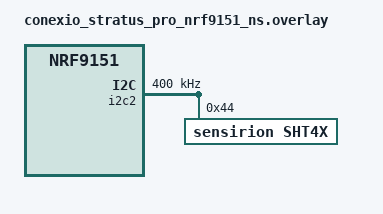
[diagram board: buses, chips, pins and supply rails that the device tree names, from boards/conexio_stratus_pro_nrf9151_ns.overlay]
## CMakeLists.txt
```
cmake_minimum_required(VERSION 3.20.0)
find_package(Zephyr REQUIRED HINTS $ENV{ZEPHYR_BASE})
project(sensor_data)

target_sources(app PRIVATE src/main.c)
target_include_directories(app PRIVATE ${ZEPHYR_CJSON_MODULE_DIR})
```

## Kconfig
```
mainmenu "Conexio Sensor Data Sample"

source "Kconfig.zephyr"

config CONEXIO_SAMPLE_SIMULATED_SENSORS
	bool "Use simulated (random) sensor data"
	default y
	help
	  When enabled (default), temperature and humidity callbacks return
	  random values for demonstration purposes. A compiler warning is
	  emitted as a reminder to replace them before deploying to production.
	  Set to n and implement real sensor reads in main.c.
```

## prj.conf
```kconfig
# =============================================================================
# Sensor Data — Streaming sensor readings to Conexio Cloud
# =============================================================================
CONFIG_CONEXIO_CLOUD=y
CONFIG_CONEXIO_CLOUD_INTERVAL_SEC=120

# CBOR binary encoding
CONFIG_CONEXIO_CLOUD_CBOR=y
CONFIG_CONEXIO_CLOUD_CBOR_BUFFER_SIZE=512

# PSM — modem sleeps between publishes
CONFIG_CONEXIO_CLOUD_PSM=y
CONFIG_CONEXIO_CLOUD_PSM_TAU_SEC=3600
CONFIG_CONEXIO_CLOUD_PSM_ACTIVE_TIME_SEC=10

# Retry
CONFIG_CONEXIO_CLOUD_RETRY=y

# Simulated sensors on by default — replace with real driver reads
CONFIG_CONEXIO_SAMPLE_SIMULATED_SENSORS=y

# C library / system
CONFIG_POSIX_THREADS=y
CONFIG_MODEM_INFO_ADD_NETWORK=y
CONFIG_MODEM_INFO_ADD_DEVICE=y
CONFIG_MAIN_STACK_SIZE=4096
CONFIG_HEAP_MEM_POOL_SIZE=32768
CONFIG_SYSTEM_WORKQUEUE_STACK_SIZE=4096
CONFIG_CONEXIO_CLOUD_THREAD_STACK_SIZE=4096
CONFIG_LOG=y
CONFIG_LOG_DEFAULT_LEVEL=3
CONFIG_UART_CONSOLE=y
CONFIG_RESET_ON_FATAL_ERROR=y

# TF-M minimal profile (required for bootloader partition layout)
CONFIG_TFM_PROFILE_TYPE_MINIMAL=y

# Real SHT4x sensor (QWIIC port)
# CONFIG_SHT4X is auto-selected when the DT node is status="okay";
# explicit entries here document the intent.
CONFIG_SENSOR=n
CONFIG_I2C=n
CONFIG_SHT4X=n
```

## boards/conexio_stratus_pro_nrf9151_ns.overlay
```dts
/*
 * Copyright (c) 2026 Conexio Technologies, Inc
 *
 * SPDX-License-Identifier: Apache-2.0
 */

#include <samples/cellular/nrf91_bootloader_partitions.dtsi>
#include <samples/cellular/nrf91_sram_partitions.dtsi>

&i2c2 {
	status = "okay";
	clock-frequency = <I2C_BITRATE_FAST>;
	sht4x@44 {
		status = "okay";
		compatible = "sensirion,sht4x";
		reg = <0x44>;
		repeatability = <2>;
	};
};
```

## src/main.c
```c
/*
 * Copyright (c) 2026 Conexio Technologies, Inc.
 *
 * SPDX-License-Identifier: Apache-2.0
 */

/*
 * sensor_data/src/main.c — Sensor data streaming sample.
 *
 * Demonstrates fetching sensor readings (temperature, humidity) and
 * streaming them to Conexio Cloud on a configurable interval.
 *
 * Metric behaviour:
 *
 *   CONFIG_CONEXIO_SAMPLE_SIMULATED_SENSORS=y (default)
 *     "temperature"      — random 20–40 °C  (simulated)
 *     "humidity"         — random 40–80 %   (simulated)
 *     "temperature_real" — SHT4x reading    (NAN if sensor absent)
 *     "humidity_real"    — SHT4x reading    (NAN if sensor absent)
 *
 *   CONFIG_CONEXIO_SAMPLE_SIMULATED_SENSORS=n
 *     "temperature"      — SHT4x reading (real sensor only)
 *     "humidity"         — SHT4x reading (real sensor only)
 *
 * The SDK handles:
 *   - LTE, MQTT, CBOR encoding, retry, PSM
 *   - SDK auto-metrics: _rssi, _snr, _reboot_cnt, _sdk_version, etc.
 */

#include <conexio_cloud/conexio_cloud.h>
#include <zephyr/kernel.h>
#include <zephyr/drivers/sensor.h>
#include <zephyr/random/random.h>
#include <zephyr/logging/log.h>
#include <math.h>

#if __has_include(<app_version.h>)
#  include <app_version.h>
#else
#  define APP_VERSION_STRING "1.0.0"
#endif

LOG_MODULE_REGISTER(app, LOG_LEVEL_INF);

/* Alert fires when temperature exceeds this value (°C).
 * Update via Conexio Console → OTA Config → alertThreshold setting. */
static int g_alert_threshold = 35;

/* ── Real SHT4x hardware device ─────────────────────────────────────────
 * Initialised in main(); NULL on boards without the DT node.
 * Both real-sensor callbacks guard against NULL / not-ready before use.
 */
#if IS_ENABLED(CONFIG_SHT4X) && DT_HAS_COMPAT_STATUS_OKAY(sensirion_sht4x)
static const struct device *s_sht4x;
#endif

/* ── Real SHT4x callbacks (defined first so simulated=n can forward to them)
 *
 * Each callback fetches a fresh sample independently and checks every return
 * value. Returns NAN when the sensor is absent, not ready, fetch fails, or
 * the channel read fails — the SDK silently skips NAN values so the sample
 * builds and runs on boards without the sensor physically attached.
 *
 * Guard: both CONFIG_SHT4X=y AND the DT node must be present. When
 * CONFIG_SHT4X=n the stub versions (returning NAN) are used instead, which
 * means the simulated sensor path continues to work without glitches.
 */
#if IS_ENABLED(CONFIG_SHT4X) && DT_HAS_COMPAT_STATUS_OKAY(sensirion_sht4x)

static double read_temperature_real(void *arg)
{
    ARG_UNUSED(arg);
    if (s_sht4x == NULL || !device_is_ready(s_sht4x)) {
        return (double)NAN;
    }
    struct sensor_value val;
    if (sensor_sample_fetch(s_sht4x) < 0) {
        LOG_WRN("SHT4x: sample fetch failed");
        return (double)NAN;
    }
    if (sensor_channel_get(s_sht4x, SENSOR_CHAN_AMBIENT_TEMP, &val) < 0) {
        LOG_WRN("SHT4x: temperature channel read failed");
        return (double)NAN;
    }
    return sensor_value_to_double(&val);
}

static double read_humidity_real(void *arg)
{
    ARG_UNUSED(arg);
    if (s_sht4x == NULL || !device_is_ready(s_sht4x)) {
        return (double)NAN;
    }
    /* Independent fetch per callback — no ordering dependency. */
    struct sensor_value val;
    if (sensor_sample_fetch(s_sht4x) < 0) {
        LOG_WRN("SHT4x: sample fetch failed (humidity)");
        return (double)NAN;
    }
    if (sensor_channel_get(s_sht4x, SENSOR_CHAN_HUMIDITY, &val) < 0) {
        LOG_WRN("SHT4x: humidity channel read failed");
        return (double)NAN;
    }
    return sensor_value_to_double(&val);
}

#else  /* board has no sensirion_sht4x DT node, or CONFIG_SHT4X=n */

static double read_temperature_real(void *arg) { ARG_UNUSED(arg); return (double)NAN; }
static double read_humidity_real(void *arg)    { ARG_UNUSED(arg); return (double)NAN; }

#endif /* IS_ENABLED(CONFIG_SHT4X) && DT_HAS_COMPAT_STATUS_OKAY(sensirion_sht4x) */

/* ── Primary sensor callbacks ("temperature" / "humidity") ───────────────
 *
 * SIMULATED_SENSORS=y → random values (default, good for cloud integration tests)
 * SIMULATED_SENSORS=n → forwards to SHT4x real callbacks above so the standard
 *   metric names always carry valid data and dashboard widgets never need updating.
 */
#if defined(CONFIG_CONEXIO_SAMPLE_SIMULATED_SENSORS)
#warning "Simulated sensors active — set CONFIG_CONEXIO_SAMPLE_SIMULATED_SENSORS=n for production."

static double read_temperature(void *arg)
{
    ARG_UNUSED(arg);
    double temp = 20.0 + (double)(sys_rand32_get() % 200) * 0.1; /* 20–40 °C */
    if (g_alert_threshold > 0 && temp >= (double)g_alert_threshold) {
        conexio_cloud_publish_alert("temperature", temp, (double)g_alert_threshold);
        LOG_WRN("Alert: temperature %.1f °C exceeds threshold %d °C",
                temp, g_alert_threshold);
    }
    return temp;
}

static double read_humidity(void *arg)
{
    ARG_UNUSED(arg);
    return 40.0 + (double)(sys_rand32_get() % 400) * 0.1; /* 40–80 % */
}

#else  /* SIMULATED_SENSORS=n — forward to SHT4x */

static double read_temperature(void *arg)
{
    double temp = read_temperature_real(arg);
    if (!isnan(temp) && g_alert_threshold > 0 && temp >= (double)g_alert_threshold) {
        conexio_cloud_publish_alert("temperature", temp, (double)g_alert_threshold);
        LOG_WRN("Alert: temperature %.1f °C exceeds threshold %d °C",
                temp, g_alert_threshold);
    }
    return temp;
}

static double read_humidity(void *arg)
{
    return read_humidity_real(arg);
}

#endif /* CONFIG_CONEXIO_SAMPLE_SIMULATED_SENSORS */

/* ── Settings handler ─────────────────────────────────────────────────────
 * Receive alertThreshold updates pushed from Conexio Console → OTA Config.
 */
static enum conexio_setting_status on_alert_threshold(int32_t value, void *arg)
{
    ARG_UNUSED(arg);
    g_alert_threshold = (int)value;
    LOG_INF("Setting: alertThreshold → %d °C", g_alert_threshold);
    return CONEXIO_SETTING_OK;
}

/* ── Cloud event handler ────────────────────────────────────────────────── */
static void on_cloud_event(const struct conexio_cloud_event *evt)
{
    switch (evt->type) {
    case CONEXIO_CLOUD_EVT_CONNECTED:
        LOG_INF("Connected — %s | App v%s",
                conexio_cloud_device_id(), APP_VERSION_STRING);
        break;
    case CONEXIO_CLOUD_EVT_DISCONNECTED:
        LOG_WRN("Disconnected");
        break;
    case CONEXIO_CLOUD_EVT_ERROR:
        LOG_ERR("Cloud error: %d", evt->data.error);
        break;
    default:
        break;
    }
}

/* ── main ─────────────────────────────────────────────────────────────── */
int main(void)
{
    LOG_INF("=== Conexio Sensor Data Sample ===");
    LOG_INF("Interval: %ds | Simulated: %s | SHT4x: %s",
            CONFIG_CONEXIO_CLOUD_INTERVAL_SEC,
            IS_ENABLED(CONFIG_CONEXIO_SAMPLE_SIMULATED_SENSORS) ? "yes" : "no",
            IS_ENABLED(CONFIG_SHT4X) ? "enabled" : "disabled");

    /* Initialise real SHT4x sensor — guarded by both Kconfig and DT node */
#if IS_ENABLED(CONFIG_SHT4X) && DT_HAS_COMPAT_STATUS_OKAY(sensirion_sht4x)
    s_sht4x = DEVICE_DT_GET_ANY(sensirion_sht4x);
    if (!device_is_ready(s_sht4x)) {
        LOG_WRN("SHT4x not ready — real sensor metrics will be skipped");
        s_sht4x = NULL;
    } else {
        LOG_INF("SHT4x ready — real sensor metrics enabled");
    }
#endif

    /* Register primary callbacks — always published under these names */
    conexio_cloud_register_sensor("temperature", read_temperature, NULL);
    conexio_cloud_register_sensor("humidity",    read_humidity,    NULL);

    /* Register SHT4x-specific names only when simulated mode is active.
     * When SIMULATED_SENSORS=n, "temperature"/"humidity" ARE the real values
     * (forwarded from the SHT4x callbacks), so _real would be redundant
     * duplicates — two separate I2C reads would give slightly different values
     * and confuse dashboards. With SIMULATED_SENSORS=y they are useful for
     * side-by-side comparison of simulated vs. real sensor output. */
#if defined(CONFIG_CONEXIO_SAMPLE_SIMULATED_SENSORS)
    conexio_cloud_register_sensor("temperature_real", read_temperature_real, NULL);
    conexio_cloud_register_sensor("humidity_real",    read_humidity_real,    NULL);
#endif

    /* Register alertThreshold setting — Conexio Console can update remotely */
    conexio_cloud_register_setting_int("alertThreshold", on_alert_threshold, NULL);

    /* Initialise: LTE → NTP → TLS → MQTT thread */
    int ret = conexio_cloud_init(on_cloud_event);
    if (ret) {
        LOG_ERR("init failed (%d)", ret); return -1;
    }

    LOG_INF("Connecting...");
    if (conexio_cloud_wait_connected(60000) == 0) {
        k_sleep(K_SECONDS(2));
        conexio_cloud_publish();
    }

    /* The SDK background thread handles periodic publishing at
     * CONFIG_CONEXIO_CLOUD_INTERVAL_SEC. The main thread just stays alive. */
    while (1) {
        k_sleep(K_SECONDS(CONFIG_CONEXIO_CLOUD_INTERVAL_SEC));
    }
    return 0;
}
```
